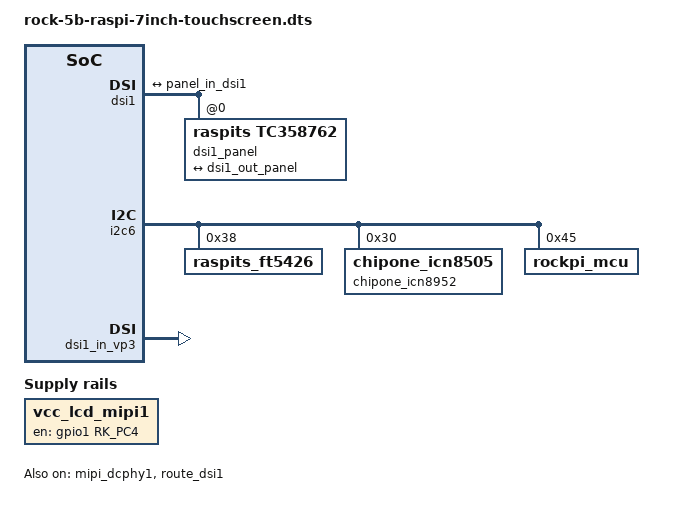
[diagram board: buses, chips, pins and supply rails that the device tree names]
/dts-v1/;
/plugin/;

#include <dt-bindings/interrupt-controller/irq.h>
#include <dt-bindings/gpio/gpio.h>
#include <dt-bindings/pinctrl/rockchip.h>

/ {
	metadata {
		title = "Enable Raspberry Pi 7-inch Touchscreen";
		compatible = "radxa,rock-5b";
		category = "display";
		exclusive = "dsi1";
		description = "Enable Raspberry Pi 7-inch Touchscreen";
	};

	fragment@0 {
		target-path = "/";

		__overlay__ {
			vcc_lcd_mipi1: vcc-lcd-mipi1 {
				status = "okay";
				compatible = "regulator-fixed";
				regulator-name = "vcc_lcd_mipi1";
				gpio = <&gpio1 RK_PC4 GPIO_ACTIVE_HIGH>;
				enable-active-high;
				regulator-boot-on;
				regulator-state-mem {
					regulator-off-in-suspend;
				};
			};
		};
	};

	fragment@1 {
		target = <&dsi1>;

		__overlay__ {
			status = "okay";
			#address-cells = <1>;
			#size-cells = <0>;
			rockchip,lane-rate = <605>;

			dsi1_panel: dsi-panel@0 {
				compatible = "raspits,tc358762";
				reg = <0x0>;
				status = "okay";

				ports {
					#address-cells = <1>;
					#size-cells = <0>;

					port@0 {
						reg = <0>;
						panel_in_dsi1: endpoint {
							remote-endpoint = <&dsi1_out_panel>;
						};
					};
				};
			};

			ports {
				#address-cells = <1>;
				#size-cells = <0>;

				port@1 {
					reg = <1>;
					dsi1_out_panel: endpoint {
						remote-endpoint = <&panel_in_dsi1>;
					};
				};
			};
		};
	};

	fragment@2 {
		target = <&i2c6>;

		__overlay__ {
			status = "okay";
			pinctrl-0 = <&i2c6m0_xfer>;
			#address-cells = <1>;
			#size-cells = <0>;

			raspits_ft5426: raspits_ft5426@38 {
				compatible = "raspits_ft5426";
				reg = <0x38>;
			};

			chipone_icn8952: chipone_icn8952@30 {
				compatible = "chipone_icn8505";
				reg = <0x30>;
			};

			rockpi_mcu: rockpi-mcu@45 {
				compatible = "rockpi_mcu";
				reg = <0x45>;
			};
		};
	};

	fragment@3 {
		target = <&mipi_dcphy1>;

		__overlay__ {
			status = "okay";
		};
	};

	fragment@4 {
		target = <&route_dsi1>;

		__overlay__ {
			status = "okay";
			connect = <&vp3_out_dsi1>;
		};
	};

	fragment@5 {
		target = <&dsi1_in_vp2>;

		__overlay__ {
			status = "disabled";
		};
	};

	fragment@6 {
		target = <&dsi1_in_vp3>;

		__overlay__ {
			status = "okay";
		};
	};
};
